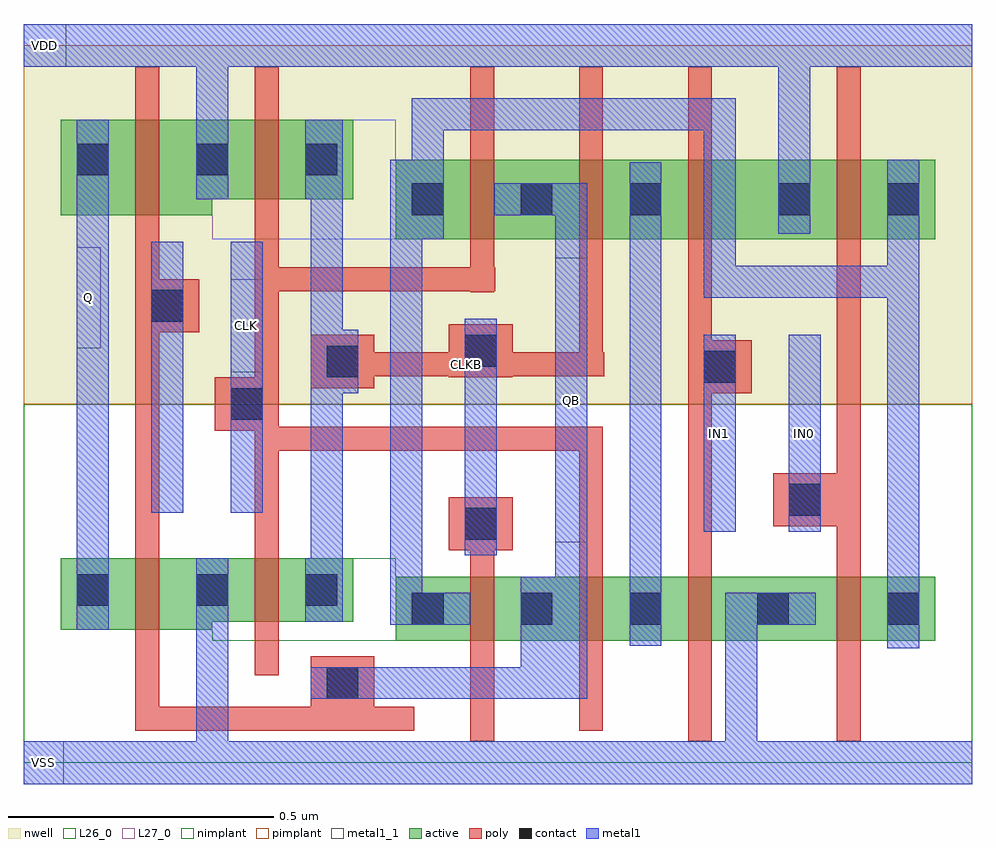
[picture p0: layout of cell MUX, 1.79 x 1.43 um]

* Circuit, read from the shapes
.subckt MUX CLK CLKB IN0 IN1 Q QB VDD VSS
M1 VSS QB Q VSUBS nfet w=0.135u l=0.045u
M2 CLKB CLK VSS VSUBS nfet w=0.12u l=0.045u
M3 QB CLKB n1 VSUBS nfet w=0.12u l=0.045u
M4 n2 CLK QB VSUBS nfet w=0.12u l=0.045u
M5 VSS IN1 n2 VSUBS nfet w=0.12u l=0.045u
M6 n1 IN0 VSS VSUBS nfet w=0.12u l=0.045u
M7 VDD QB Q n3 pfet w=0.18u l=0.045u
M8 CLKB CLK VDD n3 pfet w=0.15u l=0.045u
M9 QB CLK n1 n3 pfet w=0.15u l=0.045u
M10 n2 CLKB QB n3 pfet w=0.15u l=0.045u
M11 VDD IN1 n2 n3 pfet w=0.15u l=0.045u
M12 n1 IN0 VDD n3 pfet w=0.15u l=0.045u
.ends

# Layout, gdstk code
import gdstk
lib = gdstk.Library(unit=1e-6, precision=5e-10)
def R(c, l, rs):  # rectangles x0, y0, x1, y1
    for r in rs: c.add(gdstk.rectangle(r[:2], r[2:], *l))
def A(c, l, x, y, w, h, nx, ny, dx, dy):  # array of equal rectangles
    R(c, l, [(x+i*dx, y+j*dy, x+i*dx+w, y+j*dy+h) for i in range(nx) for j in range(ny)])
active = (1, 0)
nwell = (2, 0)
poly = (3, 0)
nimplant = (4, 0)
pimplant = (5, 0)
contact = (6, 0)
metal1 = (7, 0)
metal1_1 = (7, 1)
L26_0 = (26, 0)
L27_0 = (27, 0)

m1_po_cdns_749028985910 = lib.new_cell('M1_PO_CDNS_749028985910')
R(m1_po_cdns_749028985910, poly, [(-0.06,-0.05,0.06,0.05)])
R(m1_po_cdns_749028985910, contact, [(-0.03,-0.03,0.03,0.03)])
R(m1_po_cdns_749028985910, metal1, [(-0.06,-0.03,0.06,0.03)])

m1_po_cdns_749028985911 = lib.new_cell('M1_PO_CDNS_749028985911')
R(m1_po_cdns_749028985911, poly, [(-0.06,-0.05,0.06,0.05)])
R(m1_po_cdns_749028985911, contact, [(-0.03,-0.03,0.03,0.03)])
R(m1_po_cdns_749028985911, metal1, [(-0.03,-0.06,0.03,0.06)])

mux = lib.new_cell('MUX')
R(mux, active, [(0.7,0.23,1.23,0.35), (1.165,0.23,1.715,0.35), (0.07,0.25,0.355,0.385), (0.07,0.265,0.62,0.385), (0.7,0.985,1.25,1.135), (1.165,0.985,1.715,1.135), (0.07,1.03,0.355,1.21), (0.07,1.06,0.62,1.21)])
R(mux, nwell, [(0,0.675,1.785,1.35)])
R(mux, nimplant, [(0,0,1.785,0.675)])
R(mux, pimplant, [(0,0.675,1.785,1.35)])
A(mux, contact, 0.73, 0.26, 0.06, 0.06, 3, 2, 0.205, 0.77)
R(mux, contact, [(1.38,0.26,1.44,0.32), (1.625,0.26,1.685,0.32), (0.1,0.295,0.16,0.355), (0.325,0.295,0.385,0.355), (0.53,0.295,0.59,0.355), (1.42,1.03,1.48,1.09), (1.625,1.03,1.685,1.09), (0.1,1.105,0.16,1.165), (0.325,1.105,0.385,1.165), (0.53,1.105,0.59,1.165)])
R(mux, metal1, [(0.53,0.265,0.55,0.385), (0.53,1.06,0.54,1.21)])
R(mux, metal1_1, [(0,-0.04,0.075,0.04), (1,0.415,1.06,0.95), (1.28,0.435,1.34,0.805), (1.44,0.435,1.5,0.805), (0.39,0.735,0.45,0.91), (0.1,0.78,0.145,0.97), (0,1.31,0.08,1.39)])
R(mux, L26_0, [(0.355,0.23,0.7,0.385), (0.7,0.23,1.715,0.35), (0.07,0.25,0.355,0.385)])
R(mux, L27_0, [(0.355,0.985,0.7,1.21), (0.7,0.985,1.715,1.135), (0.07,1.03,0.355,1.21)])
mux.add(gdstk.FlexPath([(0.46,0.61),(1.0675,0.61)], 0.045, ends="extended", simple_path=True, layer=3, datatype=0))  # poly
mux.add(gdstk.FlexPath([(0.4575,1.31),(0.4575,0.165)], 0.045, ends="flush", simple_path=True, layer=3, datatype=0))  # poly
mux.add(gdstk.FlexPath([(0.8625,0.91),(0.8625,0.885)], 0.045, ends=(0.0225, 0), simple_path=True, layer=3, datatype=0))  # poly
mux.add(gdstk.FlexPath([(0.8625,0.91),(0.865,0.91)], 0.045, ends="extended", simple_path=True, layer=3, datatype=0))  # poly
mux.add(gdstk.FlexPath([(0.8625,1.31),(0.8625,0.91)], 0.045, ends=(0, 0.0225), simple_path=True, layer=3, datatype=0))  # poly
mux.add(gdstk.FlexPath([(0.2325,1.31),(0.2325,0.0825)], 0.045, ends=(0, 0.0225), simple_path=True, layer=3, datatype=0))  # poly
mux.add(gdstk.FlexPath([(0.46,0.91),(0.8625,0.91)], 0.045, ends="extended", simple_path=True, layer=3, datatype=0))  # poly
mux.add(gdstk.FlexPath([(1.0675,0.61),(1.0675,0.06)], 0.045, ends=(0.0225, 0), simple_path=True, layer=3, datatype=0))  # poly
mux.add(gdstk.FlexPath([(1.5525,1.31),(1.5525,0.04)], 0.045, ends="flush", simple_path=True, layer=3, datatype=0))  # poly
mux.add(gdstk.FlexPath([(1.2725,1.31),(1.2725,0.04)], 0.045, ends="flush", simple_path=True, layer=3, datatype=0))  # poly
mux.add(gdstk.FlexPath([(0.2325,0.0825),(0.735,0.0825)], 0.045, ends=(0.0225, 0), simple_path=True, layer=3, datatype=0))  # poly
mux.add(gdstk.FlexPath([(1.0675,1.31),(1.0675,0.75)], 0.045, ends=(0, 0.0225), simple_path=True, layer=3, datatype=0))  # poly
mux.add(gdstk.FlexPath([(0.8625,0.485),(0.8625,0.04)], 0.045, ends="flush", simple_path=True, layer=3, datatype=0))  # poly
mux.add(gdstk.FlexPath([(1.0675,0.75),(1.0675,0.73)], 0.045, ends=(0.0225, 0), simple_path=True, layer=3, datatype=0))  # poly
mux.add(gdstk.FlexPath([(1.0675,0.75),(1.07,0.75)], 0.045, ends="extended", simple_path=True, layer=3, datatype=0))  # poly
mux.add(gdstk.FlexPath([(0.585,0.75),(1.0675,0.75)], 0.045, ends="extended", simple_path=True, layer=3, datatype=0))  # poly
mux.add(gdstk.FlexPath([(0.615,0.15),(1.03,0.15)], 0.06, ends=(0, 0.03), simple_path=True, layer=7, datatype=0))  # metal1
mux.add(gdstk.FlexPath([(0.975,0.15),(0.975,0.145)], 0.08, ends=(0.03, 0), simple_path=True, layer=7, datatype=0))  # metal1
mux.add(gdstk.FlexPath([(0.975,0.35),(0.975,0.15)], 0.08, ends=(0, 0.03), simple_path=True, layer=7, datatype=0))  # metal1
mux.add(gdstk.FlexPath([(1.45,1.35),(0,1.35)], 0.08, ends=(0.03, 0), simple_path=True, layer=7, datatype=0))  # metal1
mux.add(gdstk.FlexPath([(1.49,0.29),(1.35,0.29)], 0.06, ends=(0, 0.03), simple_path=True, layer=7, datatype=0))  # metal1
mux.add(gdstk.FlexPath([(0.355,0),(0,0)], 0.08, ends=(0.03, 0), simple_path=True, layer=7, datatype=0))  # metal1
mux.add(gdstk.FlexPath([(1.45,1.35),(1.45,1.035)], 0.06, ends=(0.04, 0.04), simple_path=True, layer=7, datatype=0))  # metal1
mux.add(gdstk.FlexPath([(0.42,0.98),(0.42,0.47)], 0.06, ends="flush", simple_path=True, layer=7, datatype=0))  # metal1
mux.add(gdstk.FlexPath([(1.03,1.06),(0.885,1.06)], 0.06, ends=(0.03, 0), simple_path=True, layer=7, datatype=0))  # metal1
mux.add(gdstk.FlexPath([(0.27,0.98),(0.27,0.47)], 0.06, ends="flush", simple_path=True, layer=7, datatype=0))  # metal1
mux.add(gdstk.FlexPath([(1.31,0.435),(1.31,0.655)], 0.06, ends=(0, 0.03), simple_path=True, layer=7, datatype=0))  # metal1
mux.add(gdstk.FlexPath([(1.785,1.35),(1.45,1.35)], 0.08, ends=(0, 0.03), simple_path=True, layer=7, datatype=0))  # metal1
mux.add(gdstk.FlexPath([(1.47,0.45),(1.47,0.775)], 0.06, ends=(0, 0.03), simple_path=True, layer=7, datatype=0))  # metal1
mux.add(gdstk.FlexPath([(0.355,1.33),(0.355,1.09)], 0.06, ends=(0, 0.03), simple_path=True, layer=7, datatype=0))  # metal1
mux.add(gdstk.FlexPath([(1.35,0),(0.355,0)], 0.08, ends=(0.03, 0.03), simple_path=True, layer=7, datatype=0))  # metal1
mux.add(gdstk.FlexPath([(1.03,0.15),(1.03,1.06)], 0.06, ends="extended", simple_path=True, layer=7, datatype=0))  # metal1
mux.add(gdstk.FlexPath([(1.35,0.29),(1.35,0)], 0.06, ends=(0.03, 0.04), simple_path=True, layer=7, datatype=0))  # metal1
mux.add(gdstk.FlexPath([(1.45,1.36),(1.45,1.35)], 0.06, ends=(0, 0.04), simple_path=True, layer=7, datatype=0))  # metal1
mux.add(gdstk.FlexPath([(0.13,1.21),(0.13,0.25)], 0.06, ends="flush", simple_path=True, layer=7, datatype=0))  # metal1
mux.add(gdstk.FlexPath([(0.355,0.355),(0.355,0)], 0.06, ends=(0.03, 0.04), simple_path=True, layer=7, datatype=0))  # metal1
mux.add(gdstk.FlexPath([(1.785,0),(1.35,0)], 0.08, ends=(0, 0.03), simple_path=True, layer=7, datatype=0))  # metal1
mux.add(gdstk.FlexPath([(0.86,0.7775),(0.86,0.455)], 0.06, ends="flush", simple_path=True, layer=7, datatype=0))  # metal1
mux.add(gdstk.FlexPath([(0.76,0.985),(0.76,1.22)], 0.06, ends=(0, 0.03), simple_path=True, layer=7, datatype=0))  # metal1
mux.add(gdstk.FlexPath([(0.76,1.22),(1.31,1.22)], 0.06, ends="extended", simple_path=True, layer=7, datatype=0))  # metal1
mux.add(gdstk.FlexPath([(1.31,0.905),(1.615,0.905)], 0.06, ends="extended", simple_path=True, layer=7, datatype=0))  # metal1
mux.add(gdstk.FlexPath([(0.84,0.29),(0.72,0.29)], 0.06, ends=(0, 0.03), simple_path=True, layer=7, datatype=0))  # metal1
mux.add(gdstk.FlexPath([(1.655,1.105),(1.655,0.245)], 0.06, ends="extended", simple_path=True, layer=7, datatype=0))  # metal1
mux.add(gdstk.FlexPath([(1.31,1.22),(1.31,0.905)], 0.06, ends="extended", simple_path=True, layer=7, datatype=0))  # metal1
mux.add(gdstk.FlexPath([(0.72,0.29),(0.72,1.105)], 0.06, ends="extended", simple_path=True, layer=7, datatype=0))  # metal1
mux.add(gdstk.FlexPath([(1.17,0.22),(1.17,1.13)], 0.06, ends="flush", simple_path=True, layer=7, datatype=0))  # metal1
mux.add(gdstk.FlexPath([(0.57,1.21),(0.57,0.265)], 0.06, ends="flush", simple_path=True, layer=7, datatype=0))  # metal1
mux.add(gdstk.Reference(m1_po_cdns_749028985910, (0.6,0.15)))
mux.add(gdstk.Reference(m1_po_cdns_749028985911, (0.86,0.45)))
mux.add(gdstk.Reference(m1_po_cdns_749028985911, (0.6,0.755)))
mux.add(gdstk.Reference(m1_po_cdns_749028985911, (0.86,0.775)))
mux.add(gdstk.Reference(m1_po_cdns_749028985911, (0.42,0.675)))
mux.add(gdstk.Reference(m1_po_cdns_749028985911, (0.27,0.86)))
mux.add(gdstk.Reference(m1_po_cdns_749028985911, (1.31,0.745)))
mux.add(gdstk.Reference(m1_po_cdns_749028985911, (1.47,0.495)))
mux.add(gdstk.Label('CLKB', (0.8325,0.75), layer=3, texttype=0))
mux.add(gdstk.Label('CLK', (0.42,0.8225), layer=7, texttype=1))
mux.add(gdstk.Label('IN0', (1.47,0.62), layer=7, texttype=1))
mux.add(gdstk.Label('IN1', (1.31,0.62), layer=7, texttype=1))
mux.add(gdstk.Label('VSS', (0.0375,0), layer=7, texttype=1))
mux.add(gdstk.Label('VDD', (0.04,1.35), layer=7, texttype=1))
mux.add(gdstk.Label('QB', (1.03,0.6825), layer=7, texttype=1))
mux.add(gdstk.Label('Q', (0.1225,0.875), layer=7, texttype=1))

lib.write_gds('MUX.gds')
